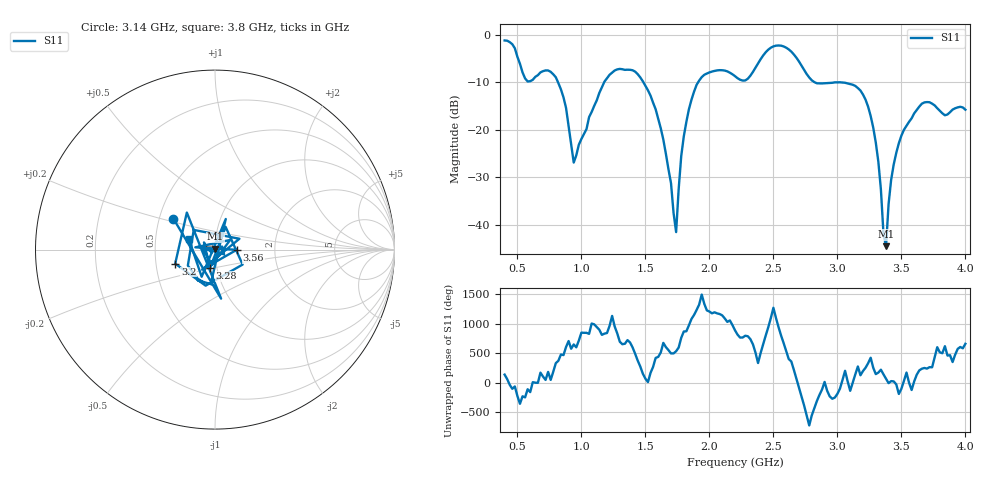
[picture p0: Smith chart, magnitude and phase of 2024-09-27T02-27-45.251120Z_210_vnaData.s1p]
!Created with skrf (http://scikit-rf.org).
# Hz S RI R 50.0
!freq ReS11 ImS11
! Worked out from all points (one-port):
!   181 points, 400 MHz to 4 GHz, reference 50 ohm
!   lowest |S11| = -44.6 dB at 3.38 GHz (marker M1), VSWR 1.01, Z = 50.2 + j0.558 ohm
!   |S11| at or under -10 dB: 817.5 MHz to 1.178 GHz (360.1 MHz wide, 36.1 % of centre); 1.485 GHz to 1.912 GHz (427.2 MHz wide, 25.2 % of centre); 3.025 GHz to end of sweep (the widest 3 of 4)
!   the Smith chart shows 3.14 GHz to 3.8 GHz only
!   S11 on the Smith chart (normalised r, x): 3.14 GHz: 0.59, +0.22; 3.2 GHz: 0.63, -0.10; 3.28 GHz: 0.93, -0.19; 3.56 GHz: 1.28, -0.00; 3.8 GHz: 0.74, +0.09
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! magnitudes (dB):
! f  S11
! 400 MHz  -1.2
! 580 MHz  -9.8
! 740 MHz  -7.5
! 860 MHz  -13.2
! 940 MHz  -26.9
! 1.18 GHz  -9.9
! 1.3 GHz  -7.2
! 1.44 GHz  -8.3
! 1.58 GHz  -15.7
! 1.7 GHz  -31.3
! 1.74 GHz  -41.6
! 1.76 GHz  -32.5
! 1.8 GHz  -21.4
! 1.9 GHz  -10.5
! 2.2 GHz  -8.7
! 2.5 GHz  -2.4
! 2.66 GHz  -4.1
! 2.82 GHz  -10.0
! 3.1 GHz  -10.4
! 3.14 GHz  -10.8
! 3.2 GHz  -12.6
! 3.28 GHz  -19.5
! 3.38 GHz  -44.6
! 3.4 GHz  -35.6
! 3.44 GHz  -27.3
! 3.56 GHz  -18.3
! 3.8 GHz  -16.0
! 4 GHz  -15.8
